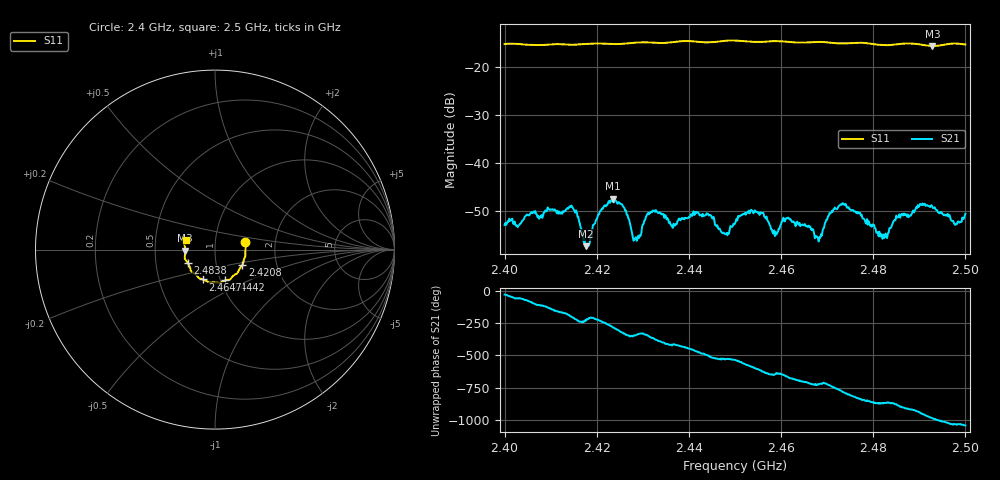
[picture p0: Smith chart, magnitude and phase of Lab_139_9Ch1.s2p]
# Hz S RI R 50
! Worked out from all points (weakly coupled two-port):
!   601 points, 2.4 GHz to 2.5 GHz, reference 50 ohm
!   highest |S21| = -47.49 dB at 2.4235 GHz (marker M1); lowest = -57.4 dB at 2.4177 GHz (marker M2)
!   lowest |S11| = -15.6 dB at 2.4928 GHz (marker M3), VSWR 1.40, Z = 35.8 - j0.399 ohm
!   |S11| at or under -10 dB: start of sweep to end of sweep
!   S12 and S22 are empty: the file has one direction only
!   S11 on the Smith chart (normalised r, x): 2.4 GHz: 1.40, +0.12; 2.4208 GHz: 1.33, -0.24; 2.4442 GHz: 1.05, -0.37; 2.4647 GHz: 0.83, -0.29; 2.4838 GHz: 0.73, -0.11; 2.5 GHz: 0.72, +0.08
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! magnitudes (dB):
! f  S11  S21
! 2.4 GHz  -15.2  -53.0
! 2.4143 GHz  -15.4  -49.2
! 2.4167 GHz  -15.3  -53.9
! 2.4177 GHz  -15.2  -57.4
! 2.4208 GHz  -15.1  -50.0
! 2.4235 GHz  -15.2  -47.5
! 2.4283 GHz  -14.9  -55.9
! 2.4333 GHz  -15.0  -50.5
! 2.4365 GHz  -14.8  -53.6
! 2.4442 GHz  -14.9  -50.7
! 2.4478 GHz  -14.6  -54.9
! 2.45 GHz  -14.5  -52.7
! 2.4538 GHz  -14.8  -50.1
! 2.4587 GHz  -14.6  -55.3
! 2.4647 GHz  -14.9  -52.9
! 2.4667 GHz  -14.8  -54.1
! 2.4683 GHz  -14.8  -55.5
! 2.4735 GHz  -15.1  -48.5
! 2.4833 GHz  -15.5  -54.6
! 2.4838 GHz  -15.4  -53.6
! 2.4928 GHz  -15.6  -49.3
! 2.5 GHz  -15.3  -50.7
